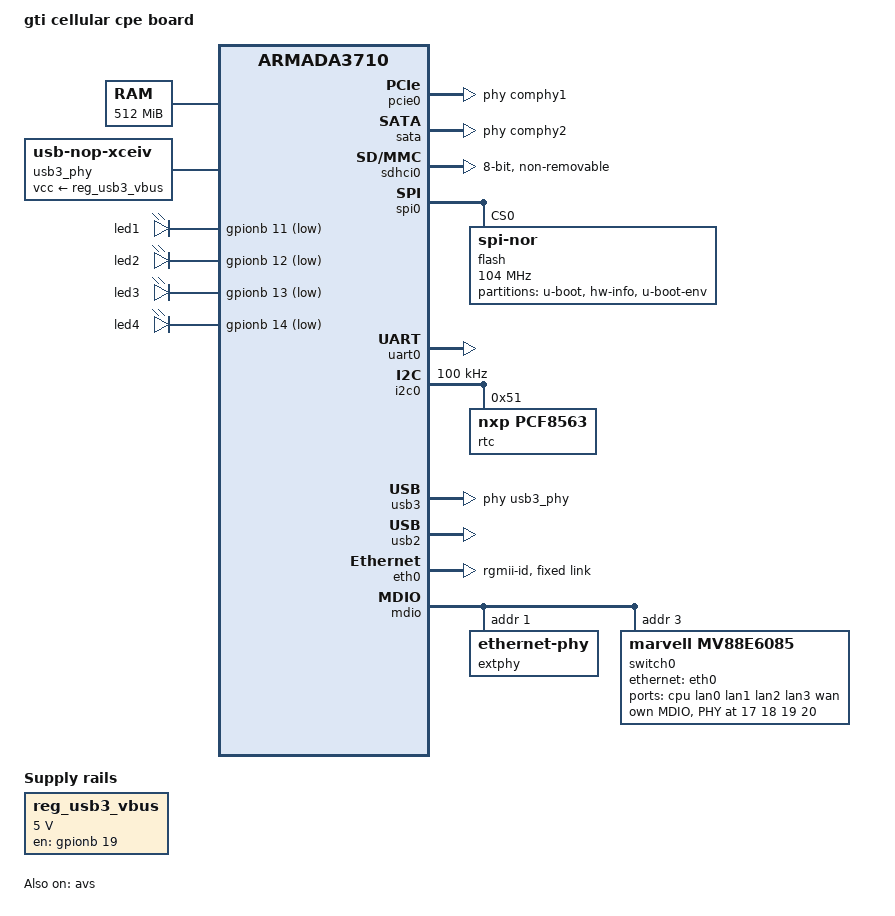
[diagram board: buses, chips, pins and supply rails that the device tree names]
// SPDX-License-Identifier: (GPL-2.0+ OR MIT)
/*
 * Device Tree file for GTI Armada 3720 Cellular-CPE board hw.v0
 * Copyright (C) 2019 Globalscale technologies, Inc.
 *
 * Jason Hung <jhung@globalscaletechnologies.com>
 */

/dts-v1/;

#include <dt-bindings/gpio/gpio.h>
#include "armada-372x.dtsi"

/ {
	model = "gti cellular cpe board";
	compatible = "gti,armada-3720-ccpe-r0","gti,armada-3720-ccpe",
				 "marvell,armada3720", "marvell,armada3710";

	aliases {
		ethernet0 = &eth0;
		/* for dsa slave device */
		ethernet1 = &switch0port1;
		ethernet2 = &switch0port2;
		ethernet3 = &switch0port3;
		ethernet4 = &switch0port4;
		ethernet5 = &switch0port5;
	};

	chosen {
		stdout-path = "serial0:115200n8";
	};

	memory@0 {
		device_type = "memory";
		reg = <0x00000000 0x00000000 0x00000000 0x20000000>;
	};

	reg_usb3_vbus: usb3-vbus {
		compatible = "regulator-fixed";
		regulator-name = "usb3-vbus";
		regulator-min-microvolt = <5000000>;
		regulator-max-microvolt = <5000000>;
		enable-active-high;
		gpio = <&gpionb 19 GPIO_ACTIVE_HIGH>;
	};

	usb3_phy: usb3-phy {
		compatible = "usb-nop-xceiv";
		vcc-supply = <&reg_usb3_vbus>;
	};

	gpio-leds {
		compatible = "gpio-leds";

		led1 {
			label = "led1";
			gpios = <&gpionb 11 GPIO_ACTIVE_LOW>;
			default-state = "off";
		};
		led2 {
			label = "led2";
			gpios = <&gpionb 12 GPIO_ACTIVE_LOW>;
			default-state = "off";
		};
		led3 {
			label = "led3";
			gpios = <&gpionb 13 GPIO_ACTIVE_LOW>;
			default-state = "off";
		};
		led4 {
			label = "led4";
			gpios = <&gpionb 14 GPIO_ACTIVE_LOW>;
			linux,default-trigger = "default-on";
		};
	};
};

&avs {
	status = "okay";
};

&pcie0 {
	status = "okay";
	phys = <&comphy1 0>;
	pinctrl-names = "default";
	pinctrl-0 = <&pcie_reset_pins &pcie_clkreq_pins>;
};

&sata {
	status = "okay";
	phys = <&comphy2 0>;
	phy-names = "sata-phy";
};

&sdhci0 {
	non-removable;
	bus-width = <8>;
	mmc-ddr-1_8v;
	mmc-hs400-1_8v;
	marvell,xenon-emmc;
	marvell,xenon-tun-count = <9>;
	marvell,pad-type = "fixed-1-8v";

	pinctrl-names = "default";
	pinctrl-0 = <&mmc_pins>;
	status = "okay";
};

&sdhci1 {
	status = "disabled";
};

&spi0 {
	status = "okay";
	pinctrl-names = "default";
	pinctrl-0 = <&spi_quad_pins>;

	flash@0 {
		compatible = "jedec,spi-nor";
		reg = <0>;
		spi-max-frequency = <104000000>;
		spi-rx-bus-width = <4>;
		spi-tx-bus-width = <4>;
		m25p,fast-read;

		partitions {
			compatible = "fixed-partitions";
			#address-cells = <1>;
			#size-cells = <1>;

			partition@0 {
				label = "u-boot";
				reg = <0x0 0x3e0000>;
			};
			partition@3e0000 {
				label = "hw-info";
				reg = <0x3e0000 0x10000>;
				read-only;
			};
			partition@3f0000 {
				label = "u-boot-env";
				reg = <0x3f0000 0x10000>;
			};
		};
	};
};

&uart0 {
	pinctrl-names = "default";
	pinctrl-0 = <&uart1_pins>;
	status = "okay";
};

&i2c0 {
	pinctrl-names = "default";
	pinctrl-0 = <&i2c1_pins>;
	status = "okay";

	clock-frequency = <100000>;

	rtc@51 {
		compatible = "nxp,pcf8563";
		reg = <0x51>;
	};
};

&usb3 {
	usb-phy = <&usb3_phy>;
	status = "okay";
};

&usb2 {
	status = "okay";
};

&eth0 {
	pinctrl-names = "default";
	pinctrl-0 = <&rgmii_pins>, <&smi_pins>;
	phy-mode = "rgmii-id";
	status = "okay";

	fixed-link {
		speed = <1000>;
		full-duplex;
	};
};

&mdio {
	status = "okay";

	extphy: ethernet-phy@0 {
		reg = <1>;
	};

	switch0: switch0@1 {
		compatible = "marvell,mv88e6085";
		#address-cells = <1>;
		#size-cells = <0>;
		reg = <3>;

		dsa,member = <0 0>;

		ports {
			#address-cells = <1>;
			#size-cells = <0>;

			switch0port0: port@0 {
				reg = <0>;
				label = "cpu";
				ethernet = <&eth0>;
				phy-mode = "rgmii-id";
				fixed-link {
					speed = <1000>;
					full-duplex;
				};
			};

			switch0port1: port@1 {
				reg = <1>;
				label = "lan0";
				phy-handle = <&switch0phy1>;
			};

			switch0port2: port@2 {
				reg = <2>;
				label = "lan1";
				phy-handle = <&switch0phy2>;
			};

			switch0port3: port@3 {
				reg = <3>;
				label = "lan2";
				phy-handle = <&switch0phy3>;
			};

			switch0port4: port@4 {
				reg = <4>;
				label = "lan3";
				phy-handle = <&switch0phy4>;
			};

			switch0port5: port@5 {
				reg = <5>;
				label = "wan";
				phy-handle = <&extphy>;
				phy-mode = "sgmii";
			};
		};

		mdio {
			#address-cells = <1>;
			#size-cells = <0>;

			switch0phy1: switch0phy1@11 {
				reg = <0x11>;
			};
			switch0phy2: switch0phy2@12 {
				reg = <0x12>;
			};
			switch0phy3: switch0phy3@13 {
				reg = <0x13>;
			};
			switch0phy4: switch0phy4@14 {
				reg = <0x14>;
			};
		};
	};
};
